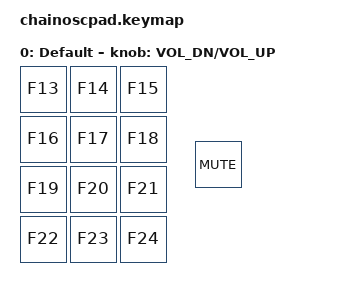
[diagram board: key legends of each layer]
#include <behaviors.dtsi>
#include <dt-bindings/zmk/keys.h>
#include <dt-bindings/zmk/bt.h>

/ {
    keymap {
        compatible = "zmk,keymap";

        default_layer {
            display-name = "Default";

            bindings = <
                &kp F13  &kp F14  &kp F15
                &kp F16  &kp F17  &kp F18
                &kp F19  &kp F20  &kp F21
                &kp F22  &kp F23  &kp F24
                &kp C_MUTE
            >;

            sensor-bindings = <&inc_dec_kp C_VOL_DN C_VOL_UP>;
        };

        extra_1 {
            display-name = "Extra 1";
            status = "reserved";
        };

        extra_2 {
            display-name = "Extra 2";
            status = "reserved";
        };
    };
};
